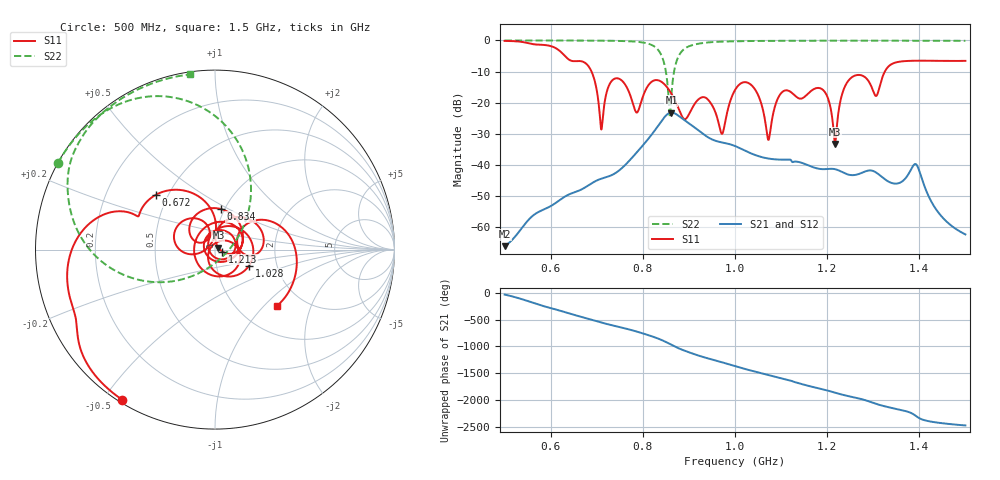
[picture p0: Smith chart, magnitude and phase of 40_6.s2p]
! TOUCHSTONE file generated by CST MICROWAVE STUDIO
! Date and time: Tue Nov 24 13:47:14 2020
! Project name: Scenario_1_Planar_Body_Tissue_Out_of_Line.cst
! Parameters = {dy1=328.7; L_HA=400; Ltissue=700; MT=2.54; Rad_Dielectric=30; Rad_Lower=7.3; Rad_Upper=30; Wtissue=700; a_HA=580; a_WG=246; b_HA=500; b_WG=121; c_HA=0; c_WG=187; d_feed=85; dx1=1039; h_feed=15; h_lower=18; h_upper=40; hfat=3; hgap=25; hmuscle=50; hskin=1.5}
! Header version: 2018
! Port assignment regex: !\s*Touchstone port\s*([0-9]+)\s*=\s*(CST MWS port|CST DS port)\s*([0-9]+|Zmin|Zmax)\s*\(\"(.*)\"\)(\s*mode\s*([0-9]+))?.*
! Touchstone port assignment:
! Touchstone port 1 = CST MWS port 1 ("")
! Touchstone port 2 = CST MWS port 2 ("")
# GHz S DB R 50
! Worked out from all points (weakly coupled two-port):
!   1003 points, 500 MHz to 1.5 GHz, reference 50 ohm
!   highest |S21| = -23.13 dB at 862 MHz (marker M1); lowest = -66.0 dB at 500 MHz (marker M2)
!   lowest |S11| = -33.2 dB at 1.217 GHz (marker M3), VSWR 1.04, Z = 51.9 + j1.14 ohm
!   |S11| at or under -10 dB: 688.7 MHz to 1.325 GHz (636.4 MHz wide, 63.2 % of centre)
!   |S22| runs from -24.7 to 0.0 dB; largest |S21 - S12| = 3.7e-05
!   S11 on the Smith chart (normalised r, x): 500 MHz: 0.01, -0.56; 672 MHz: 0.43, +0.33; 834 MHz: 0.96, +0.46; 1.028 GHz: 1.43, -0.27; 1.213 GHz: 1.08, -0.02; 1.5 GHz: 1.48, -1.21
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0.5  -0.14 -121.7  -66.00 -32.9  -66.00 -32.9  -0.01 151.2
0.667  -6.70 143.7  -47.79 -90.6  -47.79 -90.6  -0.04 138.4
0.672  -6.96 137.0  -47.40 -102.0  -47.40 -102.0  -0.04 137.9
0.71  -28.58 142.0  -44.35 164.9  -44.35 164.9  -0.08 133.7
0.737  -12.41 162.6  -42.86 105.3  -42.86 105.3  -0.13 129.8
0.787  -23.15 133.5  -35.89 -5.0  -35.89 -5.0  -0.43 118.2
0.834  -12.81 82.2  -27.21 -138.1  -27.21 -138.1  -3.21 84.9
0.862  -17.09 0.3  -23.13 108.1  -23.13 108.1  -17.59 -118.0
0.886  -24.60 -105.2  -25.12 14.0  -25.12 14.0  -3.25 -179.0
0.935  -18.28 23.8  -30.45 -130.1  -30.45 -130.1  -0.75 153.2
0.972  -29.97 -154.3  -32.73 141.6  -32.73 141.6  -0.38 144.7
1  -15.92 54.5  -33.87 69.9  -33.87 69.9  -0.27 140.4
1.028  -13.58 -25.7  -35.80 2.1  -35.80 2.1  -0.20 136.9
1.073  -31.89 136.3  -37.90 -96.4  -37.90 -96.4  -0.15 132.2
1.101  -16.76 -15.9  -38.24 -158.5  -38.24 -158.5  -0.12 129.7
1.167  -15.99 78.2  -40.54 45.0  -40.54 45.0  -0.10 124.3
1.213  -27.47 -14.9  -41.20 -55.1  -41.20 -55.1  -0.09 120.7
1.217  -33.23 30.1  -41.30 -65.3  -41.30 -65.3  -0.09 120.4
1.247  -12.74 51.6  -43.08 -131.6  -43.08 -131.6  -0.09 118.2
1.334  -8.22 19.3  -45.36 21.1  -45.36 21.1  -0.09 111.6
1.393  -6.51 -25.0  -39.75 -142.9  -39.77 -142.9  -0.09 107.0
1.5  -6.55 -42.4  -62.23 42.3  -62.23 42.3  -0.13 98.1
